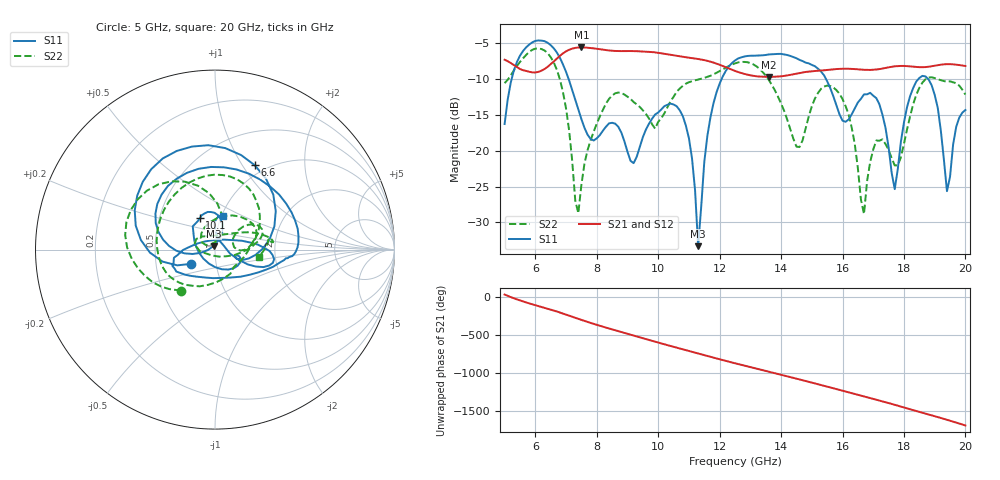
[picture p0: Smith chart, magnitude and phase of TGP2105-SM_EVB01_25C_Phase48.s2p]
! Date: Wednesday, June 05, 2013  1:52 PM
! Filename: C:\Data\Mike_Arnold\TGP2105-SM\Over_Temp\TGP2105-SM_EVB01_25C_Phase48.s2p
! Comments:
!^VDC(V):5.000
!^VDC(mA):0.027
!%Freq(GHz),S11(dB),S11(ang),S21(dB),S21(ang),S12(dB),S12(ang),S22(dB),S22(ang)
# GHz  S  DB  R  50
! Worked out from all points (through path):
!   151 points, 5 GHz to 20 GHz, reference 50 ohm
!   highest |S21| = -5.55 dB at 7.5 GHz (marker M1); lowest = -9.7 dB at 13.6 GHz (marker M2)
!   lowest |S11| = -33.3 dB at 11.3 GHz (marker M3), VSWR 1.04, Z = 49.2 + j2 ohm
!   |S11| at or under -10 dB: 7.086 GHz to 12.06 GHz (4.976 GHz wide, 52 % of centre); 15.47 GHz to 18.47 GHz (3.001 GHz wide, 17.7 % of centre); 18.79 GHz to end of sweep (the widest 3 of 4)
!   |S22| runs from -28.8 to -5.7 dB; largest |S21 - S12| = 0.0022
!   S11 on the Smith chart (normalised r, x): 5 GHz: 0.76, -0.12; 6.6 GHz: 0.88, +1.14; 10.1 GHz: 0.80, +0.29; 20 GHz: 1.01, +0.39
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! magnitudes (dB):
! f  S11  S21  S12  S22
! 5 GHz  -16.3  -7.3  -7.3  -10.5
! 5.5 GHz  -6.7  -8.6  -8.6  -7.6
! 6.6 GHz  -5.7  -7.5  -7.5  -7.7
! 7.5 GHz  -15.6  -5.6  -5.6  -24.7
! 8.5 GHz  -16.1  -6.0  -6.1  -12.3
! 9.2 GHz  -21.7  -6.1  -6.1  -13.2
! 10 GHz  -14.6  -6.3  -6.4  -16.0
! 10.1 GHz  -14.2  -6.4  -6.4  -15.5
! 10.9 GHz  -16.5  -6.9  -7.0  -10.6
! 11.3 GHz  -33.3  -7.2  -7.2  -10.0
! 11.7 GHz  -15.3  -7.6  -7.6  -9.5
! 12.5 GHz  -7.4  -8.8  -8.9  -7.8
! 13.6 GHz  -6.5  -9.7  -9.7  -10.1
! 14.5 GHz  -7.1  -9.2  -9.2  -19.4
! 15 GHz  -8.0  -8.9  -8.9  -13.8
! 16 GHz  -15.8  -8.5  -8.6  -12.8
! 16.7 GHz  -12.1  -8.7  -8.7  -28.8
! 17.5 GHz  -19.5  -8.3  -8.4  -19.8
! 17.7 GHz  -25.3  -8.2  -8.2  -22.0
! 18.7 GHz  -9.6  -8.3  -8.3  -10.0
! 19.4 GHz  -25.6  -7.9  -7.9  -10.4
! 20 GHz  -14.3  -8.2  -8.2  -12.1
